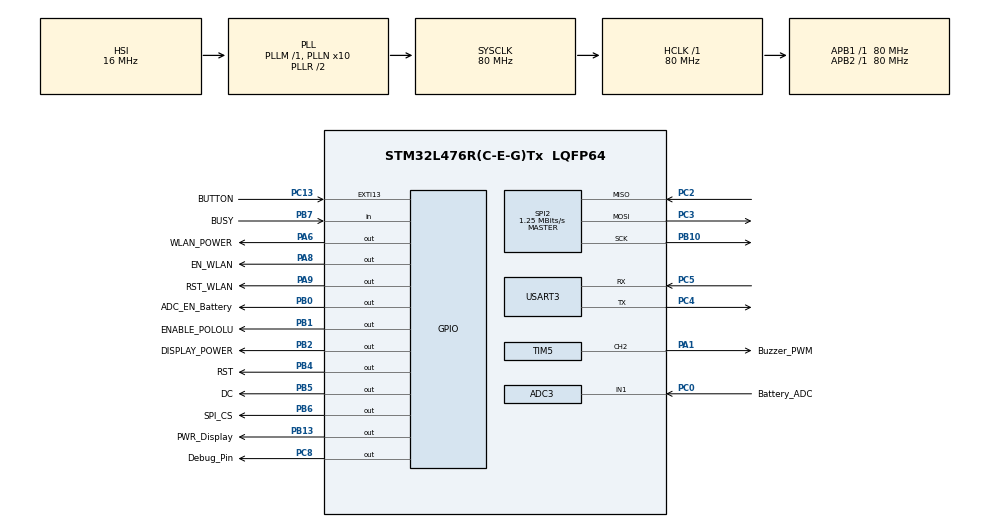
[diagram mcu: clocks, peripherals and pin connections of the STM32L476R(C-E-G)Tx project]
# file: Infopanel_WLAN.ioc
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ADC3.Channel-0\#ChannelRegularConversion=ADC_CHANNEL_1
ADC3.NbrOfConversionFlag=1
ADC3.OffsetNumber-0\#ChannelRegularConversion=ADC_OFFSET_NONE
ADC3.Rank-0\#ChannelRegularConversion=1
ADC3.SamplingTime-0\#ChannelRegularConversion=ADC_SAMPLETIME_2CYCLES_5
FREERTOS.Tasks01=defaultTask,0,128,StartDefaultTask,Default,NULL,Dynamic,NULL,NULL
Mcu.Family=STM32L4
Mcu.Name=STM32L476R(C-E-G)Tx
Mcu.Package=LQFP64
NVIC.EXTI15_10_IRQn=true\:5\:0\:false\:false\:true\:true\:true\:true\:true
NVIC.PriorityGroup=NVIC_PRIORITYGROUP_4
NVIC.RTC_WKUP_IRQn=true\:5\:0\:false\:false\:true\:true\:true\:true\:true
NVIC.TIM2_IRQn=true\:5\:0\:false\:false\:true\:true\:true\:true\:true
NVIC.USART3_IRQn=true\:5\:0\:false\:false\:true\:true\:true\:true\:true
PA1.GPIO_Label=Buzzer_PWM
PA1.Signal=S_TIM5_CH2
PA13\ (JTMS-SWDIO).GPIO_Label=TMS
PA13\ (JTMS-SWDIO).Mode=Serial_Wire
PA13\ (JTMS-SWDIO).Signal=SYS_JTMS-SWDIO
PA14\ (JTCK-SWCLK).GPIO_Label=TCK
PA14\ (JTCK-SWCLK).Mode=Serial_Wire
PA14\ (JTCK-SWCLK).Signal=SYS_JTCK-SWCLK
PA2.GPIO_Label=USART_TX
PA2.GPIO_Mode=GPIO_MODE_AF_PP
PA2.GPIO_PuPd=GPIO_NOPULL
PA2.GPIO_Speed=GPIO_SPEED_FREQ_VERY_HIGH
PA2.Signal=USART2_TX
PA3.GPIO_Label=USART_RX
PA3.GPIO_Mode=GPIO_MODE_AF_PP
PA3.GPIO_PuPd=GPIO_NOPULL
PA3.GPIO_Speed=GPIO_SPEED_FREQ_VERY_HIGH
PA3.Signal=USART2_RX
PA6.GPIO_Label=WLAN_POWER
PA6.PinState=GPIO_PIN_SET
PA6.Signal=GPIO_Output
PA8.GPIO_Label=EN_WLAN
PA8.Signal=GPIO_Output
PA9.GPIO_Label=RST_WLAN
PA9.Signal=GPIO_Output
PB0.GPIO_Label=ADC_EN_Battery
PB0.Signal=GPIO_Output
PB1.GPIO_Label=ENABLE_POLOLU
PB1.Signal=GPIO_Output
PB10.Mode=Full_Duplex_Master
PB10.Signal=SPI2_SCK
PB13.GPIO_Label=PWR_Display
PB13.Signal=GPIO_Output
PB2.GPIO_Label=DISPLAY_POWER
PB2.PinState=GPIO_PIN_SET
PB2.Signal=GPIO_Output
PB3\ (JTDO-TRACESWO).GPIO_Label=SWO
PB3\ (JTDO-TRACESWO).Signal=SYS_JTDO-SWO
PB4\ (NJTRST).GPIO_Label=RST
PB4\ (NJTRST).Signal=GPIO_Output
PB5.GPIO_Label=DC
PB5.Signal=GPIO_Output
PB6.GPIO_Label=SPI_CS
PB6.Signal=GPIO_Output
PB7.GPIO_Label=BUSY
PB7.Signal=GPIO_Input
PC0.GPIO_Label=Battery_ADC
PC0.Signal=ADCx_IN1
PC13.GPIO_Label=BUTTON
PC13.GPIO_ModeDefaultEXTI=GPIO_MODE_IT_FALLING
PC13.GPIO_PuPd=GPIO_NOPULL
PC13.Signal=GPXTI13
PC14-OSC32_IN\ (PC14).Mode=LSE-External-Oscillator
PC14-OSC32_IN\ (PC14).Signal=RCC_OSC32_IN
PC15-OSC32_OUT\ (PC15).Mode=LSE-External-Oscillator
PC15-OSC32_OUT\ (PC15).Signal=RCC_OSC32_OUT
PC2.Mode=Full_Duplex_Master
PC2.Signal=SPI2_MISO
PC3.Mode=Full_Duplex_Master
PC3.Signal=SPI2_MOSI
PC4.Mode=Asynchronous
PC4.Signal=USART3_TX
PC5.Mode=Asynchronous
PC5.Signal=USART3_RX
PC8.GPIO_Label=Debug_Pin
PC8.Signal=GPIO_Output
PH0-OSC_IN\ (PH0).Signal=RCC_OSC_IN
PH1-OSC_OUT\ (PH1).Signal=RCC_OSC_OUT
ProjectManager.HeapSize=0x200
ProjectManager.StackSize=0x400
ProjectManager.TargetToolchain=STM32CubeIDE
RCC.ADCFreq_Value=64000000
RCC.AHBFreq_Value=80000000
RCC.APB1Freq_Value=80000000
RCC.APB1TimFreq_Value=80000000
RCC.APB2Freq_Value=80000000
RCC.APB2TimFreq_Value=80000000
RCC.CortexFreq_Value=80000000
RCC.HCLKFreq_Value=80000000
RCC.HSE_VALUE=8000000
RCC.HSI_VALUE=16000000
RCC.MSI_VALUE=4000000
RCC.PLLN=10
RCC.PLLSourceVirtual=RCC_PLLSOURCE_HSI
RCC.PREFETCH_ENABLE=1
RCC.SYSCLKFreq_VALUE=80000000
RCC.SYSCLKSource=RCC_SYSCLKSOURCE_PLLCLK
RCC.USBFreq_Value=64000000
RCC.VCOOutputFreq_Value=160000000
RTC.WakeUpClock-WakeUp=RTC_WAKEUPCLOCK_CK_SPRE_16BITS
RTC.WakeUpCounter-WakeUp=3600
SH.ADCx_IN1.0=ADC3_IN1,IN1-Single-Ended
SH.S_TIM5_CH2.0=TIM5_CH2,PWM Generation2 CH2
SPI2.BaudRatePrescaler=SPI_BAUDRATEPRESCALER_64
SPI2.CalculateBaudRate=1.25 MBits/s
SPI2.DataSize=SPI_DATASIZE_8BIT
SPI2.Direction=SPI_DIRECTION_2LINES
SPI2.Mode=SPI_MODE_MASTER
SPI2.VirtualType=VM_MASTER
TIM2.Period=900000000
TIM2.Prescaler=80
TIM5.Channel-PWM\ Generation2\ CH2=TIM_CHANNEL_2
TIM5.Period=1000-1
TIM5.Prescaler=40-1
TIM5.Pulse-PWM\ Generation2\ CH2=500
USART3.VirtualMode-Asynchronous=VM_ASYNC
VP_FREERTOS_VS_CMSIS_V1.Mode=CMSIS_V1
VP_RTC_VS_RTC_Activate.Mode=RTC_Enabled
VP_RTC_VS_RTC_WakeUp_intern.Mode=WakeUp
VP_TIM2_VS_ClockSourceINT.Mode=Internal
board=NUCLEO-L476RG

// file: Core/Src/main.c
/* USER CODE BEGIN Header */
/**
  ******************************************************************************
  * @file           : main.c
  * @brief          : Main program body
  ******************************************************************************
  * @attention
  *
  * Copyright (c) 2023 STMicroelectronics.
  * All rights reserved.
  *
  * This software is licensed under terms that can be found in the LICENSE file
  * in the root directory of this software component.
  * If no LICENSE file comes with this software, it is provided AS-IS.
  *
  ******************************************************************************
  */
/* USER CODE END Header */
#include "main.h"
#include "cmsis_os.h"

/* USER CODE BEGIN Includes */
#include <stdio.h>
#include "string.h"
#include "stdlib.h"
#include "stm32l4xx_hal.h"
#include "EPD_7in5_V2.h"
#include "GUI_Paint.h"
//#include "Images.h"
#include "../../Fonts/fonts.h"
#include "Wifi.h"
#include "WLAN_Web.h"
#include "ee.h"
#include "device.h"

/* USER CODE END Includes */

/* USER CODE BEGIN PTD */
osThreadId defaultTaskHandle;
/* USER CODE END PTD */

ADC_HandleTypeDef hadc3;

RTC_HandleTypeDef hrtc;

SPI_HandleTypeDef hspi2;

TIM_HandleTypeDef htim2;
TIM_HandleTypeDef htim5;

UART_HandleTypeDef huart3;

osThreadId defaultTaskHandle;

void SystemClock_Config(void);
static void MX_GPIO_Init(void);
static void MX_SPI2_Init(void);
static void MX_RTC_Init(void);
static void MX_USART3_UART_Init(void);
static void MX_ADC3_Init(void);
static void MX_TIM2_Init(void);
static void MX_TIM5_Init(void);
void StartDefaultTask(void const * argument);

/* USER CODE BEGIN PFP */
uint16_t u16BatteryVoltage();
struct Infopanel Infopanel_MetaData = {0};
/* USER CODE END PFP */

int main(void)
{

  /* MCU Configuration--------------------------------------------------------*/

  /* Reset of all peripherals, Initializes the Flash interface and the Systick. */
  HAL_Init();

  /* Configure the system clock */
  SystemClock_Config();

  /* Initialize all configured peripherals */
  MX_GPIO_Init();
  MX_SPI2_Init();
  MX_RTC_Init();
  MX_USART3_UART_Init();
  MX_ADC3_Init();
  MX_TIM2_Init();
  MX_TIM5_Init();
  /* USER CODE BEGIN 2 */
  //VirtualEepromInit();
  VirtualEepromInitStatic();

  //Reset Timer
  __HAL_TIM_CLEAR_FLAG(&htim2, TIM_FLAG_UPDATE);
  HAL_TIM_Base_Start_IT(&htim2);

  HardwareResetCheck();

  StartWlanModule();

  Wifi_Init(osPriorityNormal);

  /* USER CODE END 2 */

  /* Create the thread(s) */
  /* definition and creation of defaultTask */

  /* Start scheduler */
  osKernelStart();

  /* We should never get here as control is now taken by the scheduler */
  /* Infinite loop */
  while (1)
  {

  }
}

void SystemClock_Config(void)
{
  RCC_OscInitTypeDef RCC_OscInitStruct = {0};
  RCC_ClkInitTypeDef RCC_ClkInitStruct = {0};

  /** Configure the main internal regulator output voltage
  */
  if (HAL_PWREx_ControlVoltageScaling(PWR_REGULATOR_VOLTAGE_SCALE1) != HAL_OK)
  {
    Error_Handler();
  }

  /** Initializes the RCC Oscillators according to the specified parameters
  * in the RCC_OscInitTypeDef structure.
  */
  RCC_OscInitStruct.OscillatorType = RCC_OSCILLATORTYPE_HSI|RCC_OSCILLATORTYPE_LSI;
  RCC_OscInitStruct.HSIState = RCC_HSI_ON;
  RCC_OscInitStruct.HSICalibrationValue = RCC_HSICALIBRATION_DEFAULT;
  RCC_OscInitStruct.LSIState = RCC_LSI_ON;
  RCC_OscInitStruct.PLL.PLLState = RCC_PLL_ON;
  RCC_OscInitStruct.PLL.PLLSource = RCC_PLLSOURCE_HSI;
  RCC_OscInitStruct.PLL.PLLM = 1;
  RCC_OscInitStruct.PLL.PLLN = 10;
  RCC_OscInitStruct.PLL.PLLP = RCC_PLLP_DIV7;
  RCC_OscInitStruct.PLL.PLLQ = RCC_PLLQ_DIV2;
  RCC_OscInitStruct.PLL.PLLR = RCC_PLLR_DIV2;
  if (HAL_RCC_OscConfig(&RCC_OscInitStruct) != HAL_OK)
  {
    Error_Handler();
  }

  /** Initializes the CPU, AHB and APB buses clocks
  */
  RCC_ClkInitStruct.ClockType = RCC_CLOCKTYPE_HCLK|RCC_CLOCKTYPE_SYSCLK
                              |RCC_CLOCKTYPE_PCLK1|RCC_CLOCKTYPE_PCLK2;
  RCC_ClkInitStruct.SYSCLKSource = RCC_SYSCLKSOURCE_PLLCLK;
  RCC_ClkInitStruct.AHBCLKDivider = RCC_SYSCLK_DIV1;
  RCC_ClkInitStruct.APB1CLKDivider = RCC_HCLK_DIV1;
  RCC_ClkInitStruct.APB2CLKDivider = RCC_HCLK_DIV1;

  if (HAL_RCC_ClockConfig(&RCC_ClkInitStruct, FLASH_LATENCY_4) != HAL_OK)
  {
    Error_Handler();
  }
}

static void MX_ADC3_Init(void)
{

  ADC_ChannelConfTypeDef sConfig = {0};

  /** Common config
  */
  hadc3.Instance = ADC3;
  hadc3.Init.ClockPrescaler = ADC_CLOCK_ASYNC_DIV1;
  hadc3.Init.Resolution = ADC_RESOLUTION_12B;
  hadc3.Init.DataAlign = ADC_DATAALIGN_RIGHT;
  hadc3.Init.ScanConvMode = ADC_SCAN_DISABLE;
  hadc3.Init.EOCSelection = ADC_EOC_SINGLE_CONV;
  hadc3.Init.LowPowerAutoWait = DISABLE;
  hadc3.Init.ContinuousConvMode = DISABLE;
  hadc3.Init.NbrOfConversion = 1;
  hadc3.Init.DiscontinuousConvMode = DISABLE;
  hadc3.Init.ExternalTrigConv = ADC_SOFTWARE_START;
  hadc3.Init.ExternalTrigConvEdge = ADC_EXTERNALTRIGCONVEDGE_NONE;
  hadc3.Init.DMAContinuousRequests = DISABLE;
  hadc3.Init.Overrun = ADC_OVR_DATA_PRESERVED;
  hadc3.Init.OversamplingMode = DISABLE;
  if (HAL_ADC_Init(&hadc3) != HAL_OK)
  {
    Error_Handler();
  }

  /** Configure Regular Channel
  */
  sConfig.Channel = ADC_CHANNEL_1;
  sConfig.Rank = ADC_REGULAR_RANK_1;
  sConfig.SamplingTime = ADC_SAMPLETIME_2CYCLES_5;
  sConfig.SingleDiff = ADC_SINGLE_ENDED;
  sConfig.OffsetNumber = ADC_OFFSET_NONE;
  sConfig.Offset = 0;
  if (HAL_ADC_ConfigChannel(&hadc3, &sConfig) != HAL_OK)
  {
    Error_Handler();
  }

}

static void MX_RTC_Init(void)
{

  /** Initialize RTC Only
  */
  hrtc.Instance = RTC;
  hrtc.Init.HourFormat = RTC_HOURFORMAT_24;
  hrtc.Init.AsynchPrediv = 127;
  hrtc.Init.SynchPrediv = 255;
  hrtc.Init.OutPut = RTC_OUTPUT_DISABLE;
  hrtc.Init.OutPutRemap = RTC_OUTPUT_REMAP_NONE;
  hrtc.Init.OutPutPolarity = RTC_OUTPUT_POLARITY_HIGH;
  hrtc.Init.OutPutType = RTC_OUTPUT_TYPE_OPENDRAIN;
  if (HAL_RTC_Init(&hrtc) != HAL_OK)
  {
    Error_Handler();
  }

}

static void MX_SPI2_Init(void)
{

  /* SPI2 parameter configuration*/
  hspi2.Instance = SPI2;
  hspi2.Init.Mode = SPI_MODE_MASTER;
  hspi2.Init.Direction = SPI_DIRECTION_2LINES;
  hspi2.Init.DataSize = SPI_DATASIZE_8BIT;
  hspi2.Init.CLKPolarity = SPI_POLARITY_LOW;
  hspi2.Init.CLKPhase = SPI_PHASE_1EDGE;
  hspi2.Init.NSS = SPI_NSS_SOFT;
  hspi2.Init.BaudRatePrescaler = SPI_BAUDRATEPRESCALER_64;
  hspi2.Init.FirstBit = SPI_FIRSTBIT_MSB;
  hspi2.Init.TIMode = SPI_TIMODE_DISABLE;
  hspi2.Init.CRCCalculation = SPI_CRCCALCULATION_DISABLE;
  hspi2.Init.CRCPolynomial = 7;
  hspi2.Init.CRCLength = SPI_CRC_LENGTH_DATASIZE;
  hspi2.Init.NSSPMode = SPI_NSS_PULSE_ENABLE;
  if (HAL_SPI_Init(&hspi2) != HAL_OK)
  {
    Error_Handler();
  }

}

static void MX_TIM2_Init(void)
{

  TIM_ClockConfigTypeDef sClockSourceConfig = {0};
  TIM_MasterConfigTypeDef sMasterConfig = {0};

  htim2.Instance = TIM2;
  htim2.Init.Prescaler = 80;
  htim2.Init.CounterMode = TIM_COUNTERMODE_UP;
  htim2.Init.Period = 600000000;
  htim2.Init.ClockDivision = TIM_CLOCKDIVISION_DIV1;
  htim2.Init.AutoReloadPreload = TIM_AUTORELOAD_PRELOAD_DISABLE;
  if (HAL_TIM_Base_Init(&htim2) != HAL_OK)
  {
    Error_Handler();
  }
  sClockSourceConfig.ClockSource = TIM_CLOCKSOURCE_INTERNAL;
  if (HAL_TIM_ConfigClockSource(&htim2, &sClockSourceConfig) != HAL_OK)
  {
    Error_Handler();
  }
  sMasterConfig.MasterOutputTrigger = TIM_TRGO_RESET;
  sMasterConfig.MasterSlaveMode = TIM_MASTERSLAVEMODE_DISABLE;
  if (HAL_TIMEx_MasterConfigSynchronization(&htim2, &sMasterConfig) != HAL_OK)
  {
    Error_Handler();
  }

}

static void MX_TIM5_Init(void)
{

  TIM_MasterConfigTypeDef sMasterConfig = {0};
  TIM_OC_InitTypeDef sConfigOC = {0};

  htim5.Instance = TIM5;
  htim5.Init.Prescaler = 40-1;
  htim5.Init.CounterMode = TIM_COUNTERMODE_UP;
  htim5.Init.Period = 1000-1;
  htim5.Init.ClockDivision = TIM_CLOCKDIVISION_DIV1;
  htim5.Init.AutoReloadPreload = TIM_AUTORELOAD_PRELOAD_DISABLE;
  if (HAL_TIM_PWM_Init(&htim5) != HAL_OK)
  {
    Error_Handler();
  }
  sMasterConfig.MasterOutputTrigger = TIM_TRGO_RESET;
  sMasterConfig.MasterSlaveMode = TIM_MASTERSLAVEMODE_DISABLE;
  if (HAL_TIMEx_MasterConfigSynchronization(&htim5, &sMasterConfig) != HAL_OK)
  {
    Error_Handler();
  }
  sConfigOC.OCMode = TIM_OCMODE_PWM1;
  sConfigOC.Pulse = 500;
  sConfigOC.OCPolarity = TIM_OCPOLARITY_HIGH;
  sConfigOC.OCFastMode = TIM_OCFAST_DISABLE;
  if (HAL_TIM_PWM_ConfigChannel(&htim5, &sConfigOC, TIM_CHANNEL_2) != HAL_OK)
  {
    Error_Handler();
  }
  HAL_TIM_MspPostInit(&htim5);

}

static void MX_USART3_UART_Init(void)
{

  huart3.Instance = USART3;
  huart3.Init.BaudRate = 115200;
  huart3.Init.WordLength = UART_WORDLENGTH_8B;
  huart3.Init.StopBits = UART_STOPBITS_1;
  huart3.Init.Parity = UART_PARITY_NONE;
  huart3.Init.Mode = UART_MODE_TX_RX;
  huart3.Init.HwFlowCtl = UART_HWCONTROL_NONE;
  huart3.Init.OverSampling = UART_OVERSAMPLING_16;
  huart3.Init.OneBitSampling = UART_ONE_BIT_SAMPLE_DISABLE;
  huart3.AdvancedInit.AdvFeatureInit = UART_ADVFEATURE_NO_INIT;
  if (HAL_UART_Init(&huart3) != HAL_OK)
  {
    Error_Handler();
  }

}

static void MX_GPIO_Init(void)
{
  GPIO_InitTypeDef GPIO_InitStruct = {0};

  /* GPIO Ports Clock Enable */
  __HAL_RCC_GPIOC_CLK_ENABLE();
  __HAL_RCC_GPIOH_CLK_ENABLE();
  __HAL_RCC_GPIOA_CLK_ENABLE();
  __HAL_RCC_GPIOB_CLK_ENABLE();

  /*Configure GPIO pin Output Level */
  HAL_GPIO_WritePin(WLAN_POWER_GPIO_Port, WLAN_POWER_Pin, GPIO_PIN_SET);

  /*Configure GPIO pin Output Level */
  HAL_GPIO_WritePin(GPIOB, ADC_EN_Battery_Pin|ENABLE_POLOLU_Pin|PWR_Display_Pin|RST_Pin
                          |DC_Pin|SPI_CS_Pin, GPIO_PIN_RESET);

  /*Configure GPIO pin Output Level */
  HAL_GPIO_WritePin(DISPLAY_POWER_GPIO_Port, DISPLAY_POWER_Pin, GPIO_PIN_SET);

  /*Configure GPIO pin Output Level */
  HAL_GPIO_WritePin(Debug_Pin_GPIO_Port, Debug_Pin_Pin, GPIO_PIN_RESET);

  /*Configure GPIO pin Output Level */
  HAL_GPIO_WritePin(GPIOA, EN_WLAN_Pin|RST_WLAN_Pin, GPIO_PIN_RESET);

  /*Configure GPIO pin : BUTTON_Pin */
  GPIO_InitStruct.Pin = BUTTON_Pin;
  GPIO_InitStruct.Mode = GPIO_MODE_IT_FALLING;
  GPIO_InitStruct.Pull = GPIO_NOPULL;
  HAL_GPIO_Init(BUTTON_GPIO_Port, &GPIO_InitStruct);

  /*Configure GPIO pins : USART_TX_Pin USART_RX_Pin */
  GPIO_InitStruct.Pin = USART_TX_Pin|USART_RX_Pin;
  GPIO_InitStruct.Mode = GPIO_MODE_AF_PP;
  GPIO_InitStruct.Pull = GPIO_NOPULL;
  GPIO_InitStruct.Speed = GPIO_SPEED_FREQ_VERY_HIGH;
  GPIO_InitStruct.Alternate = GPIO_AF7_USART2;
  HAL_GPIO_Init(GPIOA, &GPIO_InitStruct);

  /*Configure GPIO pins : WLAN_POWER_Pin EN_WLAN_Pin RST_WLAN_Pin */
  GPIO_InitStruct.Pin = WLAN_POWER_Pin|EN_WLAN_Pin|RST_WLAN_Pin;
  GPIO_InitStruct.Mode = GPIO_MODE_OUTPUT_PP;
  GPIO_InitStruct.Pull = GPIO_NOPULL;
  GPIO_InitStruct.Speed = GPIO_SPEED_FREQ_LOW;
  HAL_GPIO_Init(GPIOA, &GPIO_InitStruct);

  /*Configure GPIO pins : ADC_EN_Battery_Pin ENABLE_POLOLU_Pin DISPLAY_POWER_Pin PWR_Display_Pin
                           RST_Pin DC_Pin SPI_CS_Pin */
  GPIO_InitStruct.Pin = ADC_EN_Battery_Pin|ENABLE_POLOLU_Pin|DISPLAY_POWER_Pin|PWR_Display_Pin
                          |RST_Pin|DC_Pin|SPI_CS_Pin;
  GPIO_InitStruct.Mode = GPIO_MODE_OUTPUT_PP;
  GPIO_InitStruct.Pull = GPIO_NOPULL;
  GPIO_InitStruct.Speed = GPIO_SPEED_FREQ_LOW;
  HAL_GPIO_Init(GPIOB, &GPIO_InitStruct);

  /*Configure GPIO pin : Debug_Pin_Pin */
  GPIO_InitStruct.Pin = Debug_Pin_Pin;
  GPIO_InitStruct.Mode = GPIO_MODE_OUTPUT_PP;
  GPIO_InitStruct.Pull = GPIO_NOPULL;
  GPIO_InitStruct.Speed = GPIO_SPEED_FREQ_LOW;
  HAL_GPIO_Init(Debug_Pin_GPIO_Port, &GPIO_InitStruct);

  /*Configure GPIO pin : BUSY_Pin */
  GPIO_InitStruct.Pin = BUSY_Pin;
  GPIO_InitStruct.Mode = GPIO_MODE_INPUT;
  GPIO_InitStruct.Pull = GPIO_NOPULL;
  HAL_GPIO_Init(BUSY_GPIO_Port, &GPIO_InitStruct);

  /* EXTI interrupt init*/
  HAL_NVIC_SetPriority(EXTI15_10_IRQn, 5, 0);
  HAL_NVIC_EnableIRQ(EXTI15_10_IRQn);

}

/* USER CODE BEGIN 4 */

void HAL_GPIO_EXTI_Callback(uint16_t GPIO_Pin)
{
	if (GPIO_Pin == BUTTON_Pin)
	{
		/*
		SystemClock_Config();
		HAL_ResumeTick();
		MX_SPI2_Init();
		DEV_Module_Init();
		EPD_7IN5_V2_Init();*/
	}
	else
	{

	}
}

void HAL_RTCEx_WakeUpTimerEventCallback(RTC_HandleTypeDef *hrtc)
{
	SystemClock_Config();
	HAL_ResumeTick();
	MX_SPI2_Init();
	DEV_Module_Init();
	EPD_7IN5_V2_Init();
}

uint16_t u16BatteryVoltage()
{
	HAL_GPIO_WritePin(ADC_EN_Battery_GPIO_Port, ADC_EN_Battery_Pin, GPIO_PIN_SET);
	for (int i=0; i<400000;i++);
	uint16_t u16Return = 0;
	uint32_t u16ADC_Cache = 0;
	for (int iCounter = 0;iCounter<100;iCounter++)
	{
		HAL_ADC_Start(&hadc3);
		HAL_ADC_PollForConversion(&hadc3, 1);
		u16ADC_Cache += HAL_ADC_GetValue(&hadc3);
		for (int i=0; i<40000;i++);
	}

	HAL_GPIO_WritePin(ADC_EN_Battery_GPIO_Port, ADC_EN_Battery_Pin, GPIO_PIN_RESET);

	u16Return = 1.836*(u16ADC_Cache/100.0)+162.179;

	return u16Return;
}
/* USER CODE END 4 */

void StartDefaultTask(void const * argument)
{
  /* USER CODE BEGIN 5 */
	/*HAL_GPIO_WritePin(DISPLAY_POWER_GPIO_Port, DISPLAY_POWER_Pin, 0);
	osDelay(1000);
	HAL_GPIO_WritePin(EN_WLAN_GPIO_Port, EN_WLAN_Pin, GPIO_PIN_RESET);
	DEV_Module_Init();
	EPD_7IN5_V2_Init();
	EPD_7IN5_V2_Clear();*/
  /* Infinite loop */
  for(;;)
  {
	//osDelay(500);
    osDelay(500000);
  }
  /* USER CODE END 5 */
}

void Error_Handler(void)
{
  __disable_irq();
  while (1)
  {
  }
}
